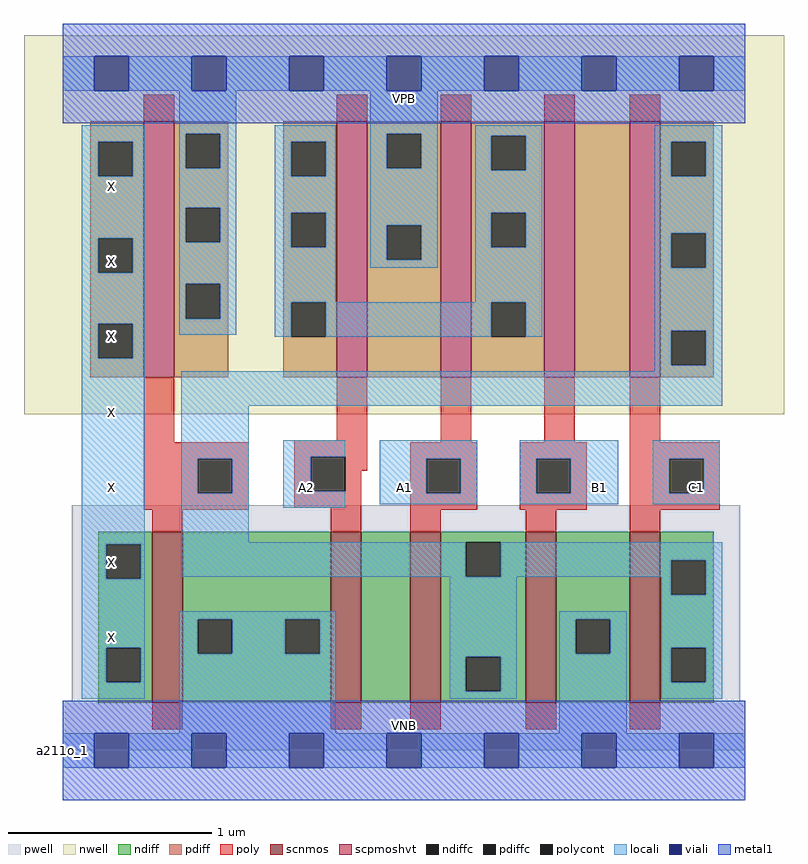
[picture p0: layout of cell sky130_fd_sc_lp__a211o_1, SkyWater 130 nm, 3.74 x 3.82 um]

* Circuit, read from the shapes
.subckt sky130_fd_sc_lp__a211o_1 A1 A2 B1 C1 VGND VNB VPB VPWR X
XM1 VGND n1 X VNB sky130_fd_pr__nfet_01v8 w=0.84 l=0.15
XM2 n2 A2 VGND VNB sky130_fd_pr__nfet_01v8 w=0.84 l=0.15
XM3 n1 A1 n2 VNB sky130_fd_pr__nfet_01v8 w=0.84 l=0.15
XM4 VGND B1 n1 VNB sky130_fd_pr__nfet_01v8 w=0.84 l=0.15
XM5 n1 C1 VGND VNB sky130_fd_pr__nfet_01v8 w=0.84 l=0.15
XM6 VPWR n1 X VPB sky130_fd_pr__pfet_01v8_hvt w=1.26 l=0.15
XM7 VPWR A2 n3 VPB sky130_fd_pr__pfet_01v8_hvt w=1.26 l=0.15
XM8 n3 A1 VPWR VPB sky130_fd_pr__pfet_01v8_hvt w=1.26 l=0.15
XM9 n4 B1 n3 VPB sky130_fd_pr__pfet_01v8_hvt w=1.26 l=0.15
XM10 n1 C1 n4 VPB sky130_fd_pr__pfet_01v8_hvt w=1.26 l=0.15
.ends

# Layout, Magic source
magic
tech sky130A
magscale 1 2
<< nwell >>
rect -38 331 710 704
<< pwell >>
rect 9 49 667 241
rect 0 0 672 49
<< scnmos >>
rect 88 47 118 215
rect 264 47 294 215
rect 342 47 372 215
rect 456 47 486 215
rect 558 47 588 215
<< scpmoshvt >>
rect 80 367 110 619
rect 270 367 300 619
rect 372 367 402 619
rect 474 367 504 619
rect 558 367 588 619
<< ndiff >>
rect 35 203 88 215
rect 35 169 43 203
rect 77 169 88 203
rect 35 101 88 169
rect 35 67 43 101
rect 77 67 88 101
rect 35 47 88 67
rect 118 129 264 215
rect 118 95 133 129
rect 167 95 219 129
rect 253 95 264 129
rect 118 47 264 95
rect 294 47 342 215
rect 372 205 456 215
rect 372 171 397 205
rect 431 171 456 205
rect 372 92 456 171
rect 372 58 397 92
rect 431 58 456 92
rect 372 47 456 58
rect 486 129 558 215
rect 486 95 505 129
rect 539 95 558 129
rect 486 47 558 95
rect 588 187 641 215
rect 588 153 599 187
rect 633 153 641 187
rect 588 101 641 153
rect 588 67 599 101
rect 633 67 641 101
rect 588 47 641 67
<< pdiff >>
rect 27 599 80 619
rect 27 565 35 599
rect 69 565 80 599
rect 27 504 80 565
rect 27 470 35 504
rect 69 470 80 504
rect 27 420 80 470
rect 27 386 35 420
rect 69 386 80 420
rect 27 367 80 386
rect 110 607 163 619
rect 110 573 121 607
rect 155 573 163 607
rect 110 534 163 573
rect 110 500 121 534
rect 155 500 163 534
rect 110 459 163 500
rect 110 425 121 459
rect 155 425 163 459
rect 110 367 163 425
rect 217 599 270 619
rect 217 565 225 599
rect 259 565 270 599
rect 217 529 270 565
rect 217 495 225 529
rect 259 495 270 529
rect 217 441 270 495
rect 217 407 225 441
rect 259 407 270 441
rect 217 367 270 407
rect 300 607 372 619
rect 300 573 319 607
rect 353 573 372 607
rect 300 517 372 573
rect 300 483 319 517
rect 353 483 372 517
rect 300 367 372 483
rect 402 605 474 619
rect 402 571 422 605
rect 456 571 474 605
rect 402 529 474 571
rect 402 495 422 529
rect 456 495 474 529
rect 402 441 474 495
rect 402 407 422 441
rect 456 407 474 441
rect 402 367 474 407
rect 504 367 558 619
rect 588 599 641 619
rect 588 565 599 599
rect 633 565 641 599
rect 588 509 641 565
rect 588 475 599 509
rect 633 475 641 509
rect 588 413 641 475
rect 588 379 599 413
rect 633 379 641 413
rect 588 367 641 379
<< ndiffc >>
rect 43 169 77 203
rect 43 67 77 101
rect 133 95 167 129
rect 219 95 253 129
rect 397 171 431 205
rect 397 58 431 92
rect 505 95 539 129
rect 599 153 633 187
rect 599 67 633 101
<< pdiffc >>
rect 35 565 69 599
rect 35 470 69 504
rect 35 386 69 420
rect 121 573 155 607
rect 121 500 155 534
rect 121 425 155 459
rect 225 565 259 599
rect 225 495 259 529
rect 225 407 259 441
rect 319 573 353 607
rect 319 483 353 517
rect 422 571 456 605
rect 422 495 456 529
rect 422 407 456 441
rect 599 565 633 599
rect 599 475 633 509
rect 599 379 633 413
<< poly >>
rect 80 619 110 645
rect 270 619 300 645
rect 372 619 402 645
rect 474 619 504 645
rect 558 619 588 645
rect 80 303 110 367
rect 270 305 300 367
rect 80 287 183 303
rect 80 253 133 287
rect 167 253 183 287
rect 80 237 183 253
rect 228 289 300 305
rect 372 303 402 367
rect 474 303 504 367
rect 558 303 588 367
rect 228 255 244 289
rect 278 275 300 289
rect 342 287 408 303
rect 278 255 294 275
rect 228 239 294 255
rect 88 215 118 237
rect 264 215 294 239
rect 342 253 358 287
rect 392 253 408 287
rect 342 237 408 253
rect 450 287 516 303
rect 450 253 466 287
rect 500 253 516 287
rect 450 237 516 253
rect 558 287 647 303
rect 558 253 597 287
rect 631 253 647 287
rect 558 237 647 253
rect 342 215 372 237
rect 456 215 486 237
rect 558 215 588 237
rect 88 21 118 47
rect 264 21 294 47
rect 342 21 372 47
rect 456 21 486 47
rect 558 21 588 47
<< polycont >>
rect 133 253 167 287
rect 244 255 278 289
rect 358 253 392 287
rect 466 253 500 287
rect 597 253 631 287
<< locali >>
rect 0 649 31 683
rect 65 649 127 683
rect 161 649 223 683
rect 257 649 319 683
rect 353 649 415 683
rect 449 649 511 683
rect 545 649 607 683
rect 641 649 672 683
rect 19 599 81 615
rect 19 565 35 599
rect 69 565 81 599
rect 19 504 81 565
rect 19 470 35 504
rect 69 470 81 504
rect 19 420 81 470
rect 19 386 35 420
rect 69 386 81 420
rect 115 607 171 649
rect 115 573 121 607
rect 155 573 171 607
rect 115 534 171 573
rect 115 500 121 534
rect 155 500 171 534
rect 115 459 171 500
rect 115 425 121 459
rect 155 425 171 459
rect 115 409 171 425
rect 209 599 269 615
rect 209 565 225 599
rect 259 565 269 599
rect 209 529 269 565
rect 209 495 225 529
rect 259 495 269 529
rect 209 441 269 495
rect 303 607 369 649
rect 303 573 319 607
rect 353 573 369 607
rect 303 517 369 573
rect 303 483 319 517
rect 353 483 369 517
rect 303 475 369 483
rect 406 605 472 615
rect 406 571 422 605
rect 456 571 472 605
rect 406 529 472 571
rect 406 495 422 529
rect 456 495 472 529
rect 406 441 472 495
rect 209 407 225 441
rect 259 407 422 441
rect 456 407 472 441
rect 583 599 649 615
rect 583 565 599 599
rect 633 565 649 599
rect 583 509 649 565
rect 583 475 599 509
rect 633 475 649 509
rect 583 413 649 475
rect 19 203 81 386
rect 583 379 599 413
rect 633 379 649 413
rect 583 373 649 379
rect 19 169 43 203
rect 77 169 81 203
rect 117 339 649 373
rect 117 287 183 339
rect 117 253 133 287
rect 167 253 183 287
rect 117 205 183 253
rect 217 289 278 305
rect 217 255 244 289
rect 217 239 278 255
rect 312 287 408 305
rect 312 253 358 287
rect 392 253 408 287
rect 312 242 408 253
rect 450 287 547 305
rect 450 253 466 287
rect 500 253 547 287
rect 450 242 547 253
rect 581 287 647 305
rect 581 253 597 287
rect 631 253 647 287
rect 581 242 647 253
rect 117 171 397 205
rect 431 187 649 205
rect 431 171 599 187
rect 19 101 81 169
rect 19 67 43 101
rect 77 67 81 101
rect 19 51 81 67
rect 115 129 269 137
rect 115 95 133 129
rect 167 95 219 129
rect 253 95 269 129
rect 115 17 269 95
rect 381 92 447 171
rect 589 153 599 171
rect 633 153 649 187
rect 381 58 397 92
rect 431 58 447 92
rect 381 51 447 58
rect 489 129 555 137
rect 489 95 505 129
rect 539 95 555 129
rect 489 17 555 95
rect 589 101 649 153
rect 589 67 599 101
rect 633 67 649 101
rect 589 51 649 67
rect 0 -17 31 17
rect 65 -17 127 17
rect 161 -17 223 17
rect 257 -17 319 17
rect 353 -17 415 17
rect 449 -17 511 17
rect 545 -17 607 17
rect 641 -17 672 17
<< viali >>
rect 31 649 65 683
rect 127 649 161 683
rect 223 649 257 683
rect 319 649 353 683
rect 415 649 449 683
rect 511 649 545 683
rect 607 649 641 683
rect 31 -17 65 17
rect 127 -17 161 17
rect 223 -17 257 17
rect 319 -17 353 17
rect 415 -17 449 17
rect 511 -17 545 17
rect 607 -17 641 17
<< metal1 >>
rect 0 683 672 715
rect 0 649 31 683
rect 65 649 127 683
rect 161 649 223 683
rect 257 649 319 683
rect 353 649 415 683
rect 449 649 511 683
rect 545 649 607 683
rect 641 649 672 683
rect 0 617 672 649
rect 0 17 672 49
rect 0 -17 31 17
rect 65 -17 127 17
rect 161 -17 223 17
rect 257 -17 319 17
rect 353 -17 415 17
rect 449 -17 511 17
rect 545 -17 607 17
rect 641 -17 672 17
rect 0 -49 672 -17
<< labels >>
flabel pwell s 0 0 672 49 0 FreeSans 200 0 0 0 VNB
port 6 nsew ground bidirectional
flabel nwell s 0 617 672 666 0 FreeSans 200 0 0 0 VPB
port 7 nsew power bidirectional
rlabel comment s 0 0 0 0 4 a211o_1
flabel metal1 s 0 617 672 666 0 FreeSans 340 0 0 0 VPWR
port 8 nsew power bidirectional
flabel metal1 s 0 0 672 49 0 FreeSans 340 0 0 0 VGND
port 5 nsew ground bidirectional
flabel locali s 319 242 353 276 0 FreeSans 340 0 0 0 A1
port 1 nsew signal input
flabel locali s 511 242 545 276 0 FreeSans 340 0 0 0 B1
port 3 nsew signal input
flabel locali s 607 242 641 276 0 FreeSans 340 0 0 0 C1
port 4 nsew signal input
flabel locali s 31 94 65 128 0 FreeSans 340 0 0 0 X
port 9 nsew signal output
flabel locali s 31 168 65 202 0 FreeSans 340 0 0 0 X
port 9 nsew signal output
flabel locali s 31 242 65 276 0 FreeSans 340 0 0 0 X
port 9 nsew signal output
flabel locali s 31 316 65 350 0 FreeSans 340 0 0 0 X
port 9 nsew signal output
flabel locali s 31 390 65 424 0 FreeSans 340 0 0 0 X
port 9 nsew signal output
flabel locali s 31 464 65 498 0 FreeSans 340 0 0 0 X
port 9 nsew signal output
flabel locali s 31 538 65 572 0 FreeSans 340 0 0 0 X
port 9 nsew signal output
flabel locali s 223 242 257 276 0 FreeSans 340 0 0 0 A2
port 2 nsew signal input
<< properties >>
string LEFsite unit
string LEFclass CORE
string FIXED_BBOX 0 0 672 666
string GDS_FILE $PDKPATH/libs.ref/sky130_fd_sc_lp/gds/sky130_fd_sc_lp.gds
string LEFsymmetry X Y R90
string GDS_END 1954138
string GDS_START 1947106
<< end >>
